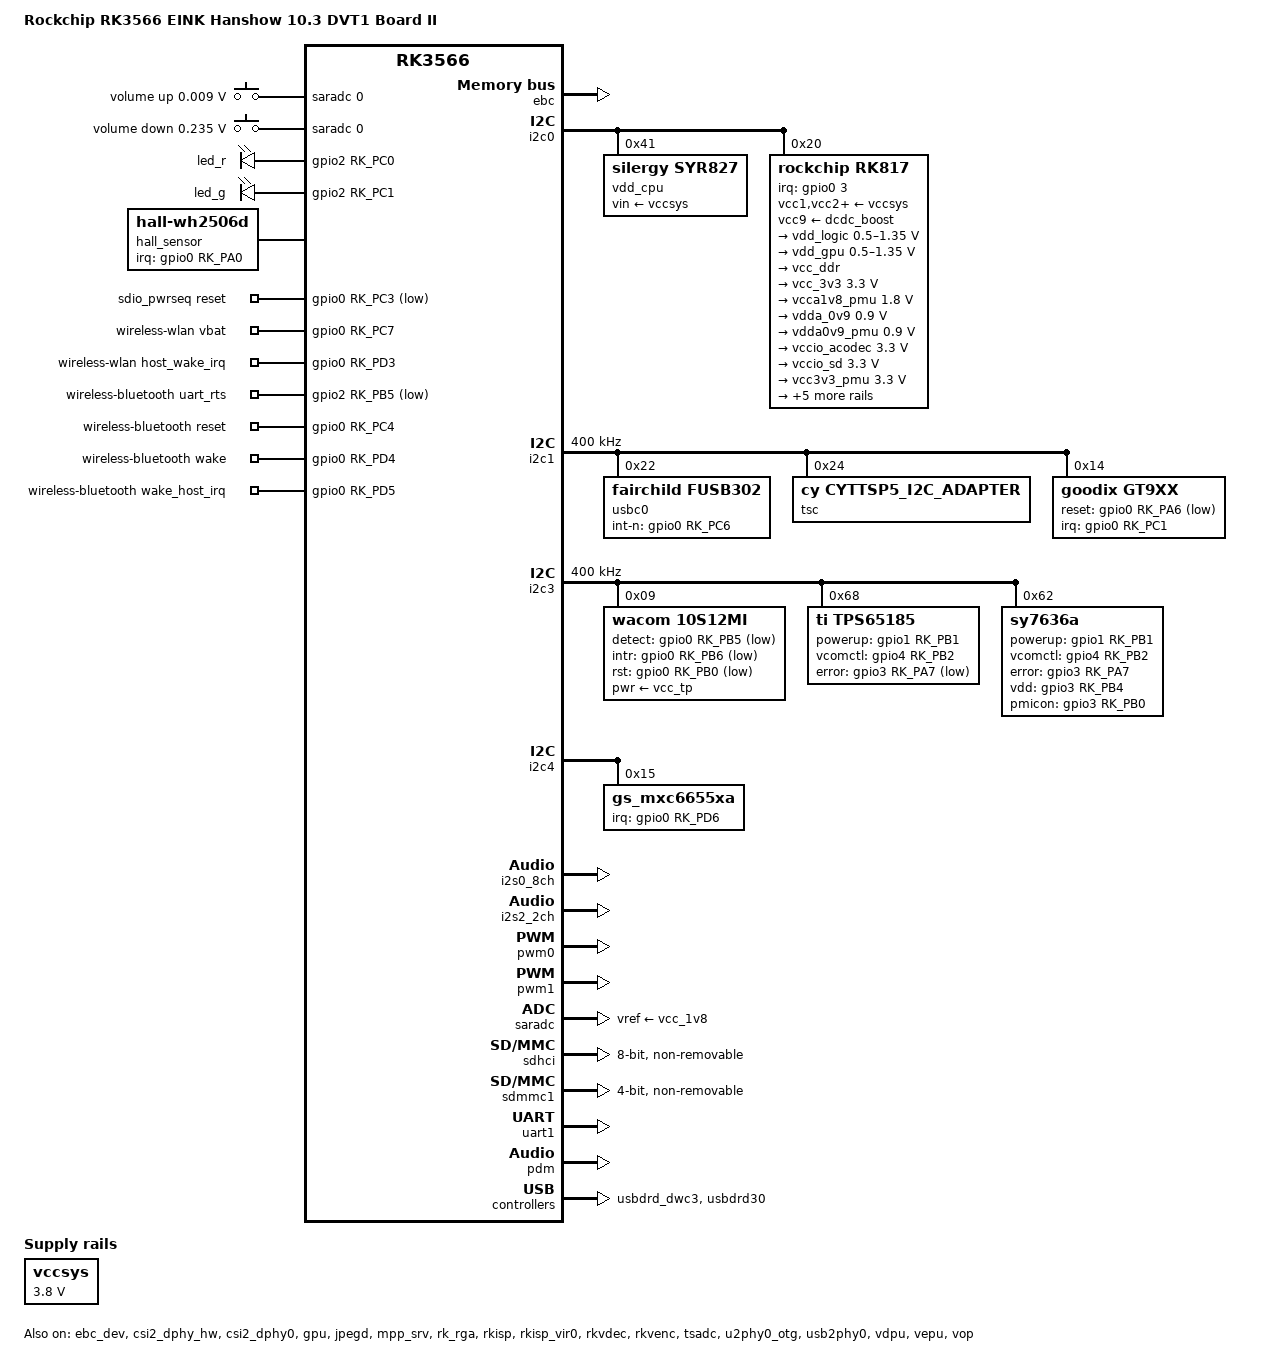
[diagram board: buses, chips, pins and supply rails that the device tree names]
// SPDX-License-Identifier: (GPL-2.0+ OR MIT)
/*
 * Copyright (c) 2020 Rockchip Electronics Co., Ltd.
 *
 */

/dts-v1/;

#include <dt-bindings/gpio/gpio.h>
#include <dt-bindings/pinctrl/rockchip.h>
#include <dt-bindings/input/rk-input.h>
#include <dt-bindings/sensor-dev.h>
#include <dt-bindings/display/drm_mipi_dsi.h>
#include <dt-bindings/usb/pd.h>
#include "rk3566.dtsi"
#include "rk3568-android.dtsi"
#include "rk3566-eink.dtsi"

#define TYPEC_fusb30x

/ {
    model = "Rockchip RK3566 EINK Hanshow 10.3 DVT1 Board II";
    compatible = "rockchip,rk3566-rk817-eink", "rockchip,rk3566";

    ramoops_mem: ramoops_mem {
        reg = <0x0 0x110000 0x0 0xf0000>;
        reg-names = "ramoops_mem";
    };

    ramoops {
        compatible = "ramoops";
        record-size = <0x0 0x20000>;
        console-size = <0x0 0x80000>;
        ftrace-size = <0x0 0x00000>;
        pmsg-size = <0x0 0x50000>;
        memory-region = <&ramoops_mem>;
    };

    charge_animation: charge-animation {
        status = "okay";
        compatible = "rockchip,uboot-charge";
        rockchip,uboot-charge-on = <1>;
        rockchip,android-charge-on = <0>;
        rockchip,uboot-low-power-voltage = <3350>;
        rockchip,screen-on-voltage = <3400>;
        rockchip,auto-wakeup-interval = <10>;
    };

    adc_keys: adc-keys {
        status = "okay";
        compatible = "adc-keys";
        io-channels = <&saradc 0>;
        io-channel-names = "buttons";
        keyup-threshold-microvolt = <1800000>;
        poll-interval = <100>;

        vol-up-key {
            label = "volume up";
            linux,code = <KEY_VOLUMEUP>;
            press-threshold-microvolt = <9000>;
        };

        vol-down-key {
            label = "volume down";
            linux,code = <KEY_VOLUMEDOWN>;
            press-threshold-microvolt = <235000>;
        };
    };

    gpio_keys: gpio-keys {
        status ="disabled";
        compatible = "gpio-keys";
        autorepeat;
#if 0
        BACK {
            label = "GPIO Key Back";
            debounce-interval = <10>;
            interrupt-parent = <&gpio0>;
            interrupts = <18 IRQ_TYPE_LEVEL_HIGH>;//gpio0_c2
            linux,input-type = <EV_KEY>;
            linux,code = <KEY_BACK>;
        };
#endif
    };

    leds: gpio-leds {
        status = "okay";
        compatible = "gpio-leds";
        led@1 {
            gpios = <&gpio2 RK_PC0 GPIO_ACTIVE_HIGH>;
            linux,default-trigger = "battery-charging";
            label = "led_r";
            retain-state-suspended;
        };

        led@2 {
            gpios = <&gpio2 RK_PC1 GPIO_ACTIVE_HIGH>;
            linux,default-trigger = "battery-charging-or-full";
            label = "led_g";
            default-state = "off";
        };
    };

    hall_sensor: hall-wh2506d {
        status = "okay";
        compatible = "hall-wh2506d";
        pinctrl-names = "default";
        pinctrl-0 = <&hall_irq_gpio>;
        irq-gpio = <&gpio0 RK_PA0 IRQ_TYPE_EDGE_BOTH>;
        hall-active = <1>;
    };

    vccsys: vccsys {
        compatible = "regulator-fixed";
        regulator-name = "vcc3v8_sys";
        regulator-always-on;
        regulator-boot-on;
        regulator-min-microvolt = <3800000>;
        regulator-max-microvolt = <3800000>;
    };

    rk817_sound: rk817-sound {
        status = "disabled";
        compatible = "simple-audio-card";
        simple-audio-card,format = "i2s";
        simple-audio-card,name = "rockchip,rk817-codec";
        simple-audio-card,mclk-fs = <256>;

        simple-audio-card,cpu {
            sound-dai = <&i2s0_8ch>;
        };
        simple-audio-card,codec {
            sound-dai = <&rk817_codec>;
        };
    };

    bt_sound: bt-sound {
        status = "okay";
        compatible = "simple-audio-card";
        simple-audio-card,format = "dsp_b";
        simple-audio-card,bitclock-inversion = <1>;
        simple-audio-card,mclk-fs = <256>;
        simple-audio-card,name = "rockchip,bt";
        simple-audio-card,cpu {
            sound-dai = <&i2s2_2ch>;
        };
        sound2_master:simple-audio-card,codec {
            sound-dai = <&bt_sco>;
        };
    };

    bt_sco: bt-sco {
        status = "okay";
        compatible = "delta,dfbmcs320";
        #sound-dai-cells = <0>;
    };

    pdm_mic_array: pdm-mic-array {
        status = "okay";
        compatible = "simple-audio-card";
        simple-audio-card,name = "rockchip,pdm-mic-array";
        simple-audio-card,cpu {
            sound-dai = <&pdm>;
        };
        simple-audio-card,codec {
            sound-dai = <&pdmics>;
        };
    };

    pdmics: dummy-codec {
        status = "okay";
        compatible = "rockchip,dummy-codec";
        #sound-dai-cells = <0>;
    };

    sdio_pwrseq: sdio-pwrseq {
        compatible = "mmc-pwrseq-simple";
        clocks = <&rk817 1>;
        clock-names = "ext_clock";
        pinctrl-names = "default";
        pinctrl-0 = <&wifi_enable_h>;

        /*
         * On the module itself this is one of these (depending
         * on the actual card populated):
         * - SDIO_RESET_L_WL_REG_ON
         * - PDN (power down when low)
         */
        post-power-on-delay-ms = <200>;
        reset-gpios = <&gpio0 RK_PC3 GPIO_ACTIVE_LOW>;
    };

    wireless-wlan {
        status = "okay";
        compatible = "wlan-platdata";
        rockchip,grf = <&grf>;
        wifi_chip_type = "";
        pinctrl-names = "default";
        pinctrl-0 = <&wifi_gpio>;
        WIFI,vbat_gpio = <&gpio0 RK_PC7 GPIO_ACTIVE_HIGH>;
        WIFI,host_wake_irq = <&gpio0 RK_PD3 GPIO_ACTIVE_HIGH>;
    };

    wireless-bluetooth {
        status = "okay";
        compatible = "bluetooth-platdata";
        clocks = <&rk817 1>;
        clock-names = "ext_clock";
        wifi-bt-power-toggle;
        uart_rts_gpios = <&gpio2 RK_PB5 GPIO_ACTIVE_LOW>;
        pinctrl-names = "default", "rts_gpio";
        pinctrl-0 = <&uart1m0_rtsn>, <&bt_reset_gpio>, <&bt_wake_gpio>, <&bt_irq_gpio>;
        pinctrl-1 = <&uart1_gpios>;
        BT,reset_gpio = <&gpio0 RK_PC4 GPIO_ACTIVE_HIGH>;
        BT,wake_gpio = <&gpio0 RK_PD4 GPIO_ACTIVE_HIGH>;
        BT,wake_host_irq = <&gpio0 RK_PD5 GPIO_ACTIVE_HIGH>;
    };
};

&ebc {
    /* clock rate 1000M/n, (n=1~32) */
    assigned-clocks = <&cru CPLL_333M>, <&cru DCLK_EBC>;
    assigned-clock-rates = <34000000>, <34000000>;
    status = "okay";
};

&ebc_dev {
    pmic = <&sy7636a>;
    //backlight = <&backlight>;
    /* ES103TC1 */
    panel,width = <1872>;
    panel,height = <1404>;
    panel,vir_width = <1872>;
    panel,vir_height = <1404>;
    panel,sdck = <35000000>;
    panel,lsl = <18>;
    panel,lbl = <17>;
    panel,ldl = <234>;

    // 15:CKV = 117.7K, EMR NOISE 达到最佳效果。20220712:确认15是最佳效果。

    panel,lel = <15>;  // 470ns
    panel,gdck-sta = <34>;
    panel,lgonl = <192>;
    panel,fsl = <1>;
    panel,fbl = <4>;
    panel,fdl = <1404>;
    panel,fel = <2>;
    panel,mirror = <1>;
    panel,panel_16bit = <1>;
    panel,panel_color = <0>;
    panel,width-mm = <210>;
    panel,height-mm = <157>;
    panel,dpi = <220>;
    panel,vcom-mv = <1300>;	//for OED 10.3 LANDSCAPE EPD.
    status = "okay";
};

// 20220523,hsl fix: 6*fb_size + 2*lcd_size + 512K 
// 10.3: 6*2628288 + 2*657088 + 512*1024= 17608192 = 0X10CAE00
&display_reserved {
    reg = <0x0 0x10900000 0x0 0x15d0000>;
};

&cpu0 {
    cpu-supply = <&vdd_cpu>;
};

&csi2_dphy_hw {
    status = "okay";
};

&csi2_dphy0 {
    status = "okay";

    ports {
        #address-cells = <1>;
        #size-cells = <0>;
        port@0 {
            reg = <0>;
            #address-cells = <1>;
            #size-cells = <0>;

            mipi_in_ucam0: endpoint@0 {
                reg = <0>;
                //remote-endpoint = <&gc5035_out>;
                data-lanes = <1 2>;
            };
        };
        port@1 {
            reg = <1>;
            #address-cells = <1>;
            #size-cells = <0>;

            csidphy0_out: endpoint@0 {
                reg = <0>;
                remote-endpoint = <&isp0_in>;
            };
        };
    };
};

&gpu {
    mali-supply = <&vdd_gpu>;
    status = "okay";
};

&hdmi {
    status = "disabled";
};

&hdmi_in_vp0 {
    status = "disabled";
};

&hdmi_in_vp1 {
    status = "disabled";
};

&i2c0 {
    status = "okay";
    vdd_cpu: syr827@41 {
        status = "okay";
        compatible = "silergy,syr827";
        reg = <0x41>;
        vin-supply = <&vccsys>;
        regulator-compatible = "fan53555-reg";
        regulator-name = "vdd_cpu";
        regulator-min-microvolt = <712500>;
        regulator-max-microvolt = <1390000>;
        regulator-init-microvolt = <900000>;
        regulator-ramp-delay = <2300>;
        fcs,suspend-voltage-selector = <0>;
        regulator-initial-mode = <0x2>;
        regulator-boot-on;
        regulator-always-on;
        regulator-state-mem {
            regulator-on-in-suspend;
            regulator-suspend-microvolt = <1100000>;
            regulator-changeable-in-suspend;
        };
    };
	#if 0
    vdd_cpu: tcs4525@1c {
        compatible = "tcs,tcs452x";
        reg = <0x1c>;
        vin-supply = <&vccsys>;
        regulator-compatible = "fan53555-reg";
        regulator-name = "vdd_cpu";
        regulator-min-microvolt = <712500>;
        regulator-max-microvolt = <1390000>;
        regulator-init-microvolt = <900000>;
        regulator-ramp-delay = <2300>;
        fcs,suspend-voltage-selector = <0>;
        regulator-initial-mode = <0x2>;
        regulator-boot-on;
        regulator-always-on;
        regulator-state-mem {
            regulator-on-in-suspend;
            regulator-suspend-microvolt = <1100000>;
            regulator-changeable-in-suspend;
        };
    };
#endif
    rk817: pmic@20 {
        compatible = "rockchip,rk817";
        reg = <0x20>;
        interrupt-parent = <&gpio0>;
        interrupts = <3 IRQ_TYPE_LEVEL_LOW>;

        pinctrl-names = "default";
        //pinctrl-names = "default", "pmic-sleep", "pmic-power-off", "pmic-reset";
        pinctrl-0 = <&pmic_int>;
        //pinctrl-1 = <&soc_slppin_slp>, <&rk817_slppin_slp>;
        //pinctrl-2 = <&soc_slppin_gpio>, <&rk817_slppin_pwrdn>;
        //pinctrl-3 = <&soc_slppin_gpio>, <&rk817_slppin_rst>;
        rockchip,system-power-controller;
        wakeup-source;
        #clock-cells = <1>;
        clock-output-names = "rk808-clkout1", "rk808-clkout2";
        //fb-inner-reg-idxs = <2>;
        /* 1: rst regs (default in codes), 0: rst the pmic */
        pmic-reset-func = <0>;
        /* not save the PMIC_POWER_EN register in uboot */
        not-save-power-en = <1>;
        vcc1-supply = <&vccsys>;
        vcc2-supply = <&vccsys>;
        vcc3-supply = <&vccsys>;
        vcc4-supply = <&vccsys>;
        vcc5-supply = <&vccsys>;
        vcc6-supply = <&vccsys>;
        vcc7-supply = <&vccsys>;
        vcc8-supply = <&vccsys>;
        vcc9-supply = <&dcdc_boost>;

        pwrkey {
            status = "okay";
        };

        pinctrl_rk8xx: pinctrl_rk8xx {
            gpio-controller;
            #gpio-cells = <2>;

            rk817_slppin_null: rk817_slppin_null {
                pins = "gpio_slp";
                function = "pin_fun0";
            };

            rk817_slppin_slp: rk817_slppin_slp {
                pins = "gpio_slp";
                function = "pin_fun1";
            };

            rk817_slppin_pwrdn: rk817_slppin_pwrdn {
                pins = "gpio_slp";
                function = "pin_fun2";
            };

            rk817_slppin_rst: rk817_slppin_rst {
                pins = "gpio_slp";
                function = "pin_fun3";
            };
        };

        regulators {
            vdd_logic: DCDC_REG1 {
                regulator-always-on;
                regulator-boot-on;
                regulator-min-microvolt = <500000>;
                regulator-max-microvolt = <1350000>;
                regulator-init-microvolt = <900000>;
                regulator-ramp-delay = <6001>;
                regulator-initial-mode = <0x2>;
                regulator-name = "vdd_logic";
                regulator-state-mem {
                    regulator-off-in-suspend;
                    regulator-suspend-microvolt = <900000>;
                    regulator-changeable-in-suspend;
                };
            };

            vdd_gpu: DCDC_REG2 {
                regulator-always-on;
                regulator-boot-on;
                regulator-min-microvolt = <500000>;
                regulator-max-microvolt = <1350000>;
                regulator-init-microvolt = <900000>;
                regulator-ramp-delay = <6001>;
                regulator-initial-mode = <0x2>;
                regulator-name = "vdd_gpu";
                    regulator-state-mem {
                    regulator-off-in-suspend;
                    regulator-changeable-in-suspend;
                };
            };

            vcc_ddr: DCDC_REG3 {
                regulator-always-on;
                regulator-boot-on;
                regulator-initial-mode = <0x2>;
                regulator-name = "vcc_ddr";
                regulator-state-mem {
                    regulator-on-in-suspend;
                };
            };

            vcc_3v3: DCDC_REG4 {
                regulator-always-on;
                regulator-boot-on;
                regulator-min-microvolt = <3300000>;
                regulator-max-microvolt = <3300000>;
                regulator-initial-mode = <0x2>;
                regulator-name = "vcc_3v3";
                regulator-state-mem {
                    regulator-off-in-suspend;
                    regulator-changeable-in-suspend;
                };
            };

            vcca1v8_pmu: LDO_REG1 {
                regulator-always-on;
                regulator-boot-on;
                regulator-min-microvolt = <1800000>;
                regulator-max-microvolt = <1800000>;
                regulator-name = "vcca1v8_pmu";
                regulator-state-mem {
                    regulator-off-in-suspend;
                    regulator-suspend-microvolt = <1800000>;
                    regulator-changeable-in-suspend;
                };
            };

            vdda_0v9: LDO_REG2 {
                regulator-always-on;
                regulator-boot-on;
                regulator-min-microvolt = <900000>;
                regulator-max-microvolt = <900000>;
                regulator-name = "vdda_0v9";
                regulator-state-mem {
                    regulator-off-in-suspend;
                    regulator-changeable-in-suspend;
                };
            };

            vdda0v9_pmu: LDO_REG3 {
                regulator-always-on;
                regulator-boot-on;
                regulator-min-microvolt = <900000>;
                regulator-max-microvolt = <900000>;
                regulator-name = "vdda0v9_pmu";
                regulator-state-mem {
                    regulator-off-in-suspend;
                    regulator-suspend-microvolt = <900000>;
                    regulator-changeable-in-suspend;
                };
            };

            vccio_acodec: LDO_REG4 {
                regulator-always-on;
                regulator-boot-on;
                regulator-min-microvolt = <3300000>;
                regulator-max-microvolt = <3300000>;
                regulator-name = "vccio_acodec";
                regulator-state-mem {
                    regulator-off-in-suspend;
                    regulator-changeable-in-suspend;
                };
            };

            vccio_sd: LDO_REG5 {
                regulator-always-on;
                regulator-boot-on;
                regulator-min-microvolt = <3300000>;
                regulator-max-microvolt = <3300000>;
                regulator-name = "vccio_sd";
                regulator-state-mem {
                    regulator-off-in-suspend;
                    regulator-changeable-in-suspend;
                };
            };

            vcc3v3_pmu: LDO_REG6 {
                regulator-always-on;
                regulator-boot-on;
                regulator-min-microvolt = <3300000>;
                regulator-max-microvolt = <3300000>;
                regulator-name = "vcc3v3_pmu";
                regulator-state-mem {
                    regulator-on-in-suspend;
                    regulator-suspend-microvolt = <3000000>;
                    regulator-changeable-in-suspend;
                };
            };

            vcc_1v8: LDO_REG7 {
                regulator-always-on;
                regulator-boot-on;
                regulator-min-microvolt = <1800000>;
                regulator-max-microvolt = <1800000>;
                regulator-name = "vcc_1v8";
                regulator-state-mem {
                    regulator-off-in-suspend;
                    regulator-changeable-in-suspend;
                };
            };

            vcc_tp: LDO_REG8 {
                regulator-always-on;
                regulator-boot-on;
                regulator-min-microvolt = <3000000>;//根据硬件需要改成输出 3.0V.
                regulator-max-microvolt = <3000000>;
                regulator-name = "vcc_tp";
                regulator-state-mem {
                    regulator-on-in-suspend;
                    regulator-changeable-in-suspend;
                    regulator-suspend-microvolt = <3000000>;
                };
            };

            sleep_sta_ctl: LDO_REG9 {
                regulator-name = "sleep_sta_ctl";
                regulator-state-mem {
                    regulator-off-in-suspend;
                    regulator-suspend-microvolt = <3300000>;
                    regulator-changeable-in-suspend;
                };
            };

            dcdc_boost: BOOST {
                regulator-always-on;
                regulator-boot-on;
                regulator-min-microvolt = <4700000>;
                regulator-max-microvolt = <5400000>;
                regulator-name = "boost";
                regulator-state-mem {
                    regulator-off-in-suspend;
                    regulator-changeable-in-suspend;
                };
            };

            otg_switch: OTG_SWITCH {
                regulator-name = "otg_switch";
                regulator-state-mem {
                    regulator-off-in-suspend;
                    regulator-changeable-in-suspend;
                };
            };
        };

        battery {
            compatible = "rk817,battery";
			ocv_table = <
                3350 3593 3620 3653 3675 3692 3705
                3721 3741 3765 3791 3821 3860 3907
                3958 4016 4072 4130 4192 4253 4337>;
            tempadc_table = <
                272 261 250 240 230 220 211 203 194
                187 179 172 165 159 152 147 141 135
                130 125 120 116 112 107 103 100 96
                92 89 86 83 80 77 74 71 69 67 64 62
                60 58 56 54 52 50 49 47 45 44 42 41
                40 38 37 36 35 34 33 32 31 30 29 28 27 26 25 >;
            tempnadc_table = <
                284 297 310 324 339 354 370 387 405
                424 444 465 487 510 534 560 587 616
                646 677 711 746 784 823 865 909 956
                1006 1058 1113 1172 1234 1300 1369
                1443 1521 1604 1692 1786 1885>;
            design_capacity = <3000>;
            design_qmax = <3300>;
            bat_res = <100>;
            sleep_enter_current = <150>;
            sleep_exit_current = <180>;
            sleep_filter_current = <100>;
            power_off_thresd = <3450>;
            zero_algorithm_vol = <3850>;
            max_soc_offset = <60>;
            monitor_sec = <5>;
            sample_res = <10>;
            virtual_power = <0>;
            low_power_sleep = <1>;
            max_chrg_voltage = <4400>; //for uboot
        };

        charger {
            compatible = "rk817,charger";
            min_input_voltage = <4500>;
            max_input_current = <2000>;
            max_chrg_current = <1500>;
            max_chrg_voltage = <4400>;
            chrg_term_mode = <1>;
            chrg_finish_cur = <200>;
            virtual_power = <0>;
            dc_det_adc = <0>;
            extcon = <&usbc0>;
            gate_function_disable = <1>;
        };

        rk817_codec: codec {
            #sound-dai-cells = <0>;
            compatible = "rockchip,rk817-codec";
            clocks = <&cru I2S1_MCLKOUT>;
            clock-names = "mclk";
            assigned-clocks = <&cru I2S1_MCLKOUT>, <&cru I2S1_MCLK_TX_IOE>;
            assigned-clock-rates = <12288000>;
            assigned-clock-parents = <&cru I2S1_MCLKOUT_TX>, <&cru I2S1_MCLKOUT_TX>;
            pinctrl-names = "default";
            pinctrl-0 = <&i2s1m0_mclk>;
            hp-volume = <20>;
            spk-volume = <3>;
            out-l2spk-r2hp;
            spk-ctl-gpios = <&gpio3 RK_PB1 GPIO_ACTIVE_HIGH>;
            status = "disabled";
        };
    };
};

&i2c1 {
    status = "okay";
    clock-frequency = <400000>;

#ifdef TYPEC_fusb30x
    usbc0: fusb30x@22 {
        status = "okay";
        compatible = "fairchild,fusb302";
        reg = <0x22>;
        pinctrl-names = "default";
        pinctrl-0 = <&fusb0_int>;
        //pinctrl-0 = <&fusb0_int>, <&fusb0_switch>;
        //power-supply = <&vccio_sd>;
        //vbus-5v-gpios = <&gpio1 4 GPIO_ACTIVE_LOW>;
        int-n-gpios = <&gpio0 RK_PC6 IRQ_TYPE_LEVEL_LOW>;
        //switch-gpios = <&gpio1 RK_PD4 GPIO_ACTIVE_HIGH>;
    };
#else
    usbc0: et7303@4e {
        status = "okay";
        compatible = "etek,et7303";
        reg = <0x4e>;
        interrupt-parent = <&gpio0>;
        interrupts = <22 IRQ_TYPE_LEVEL_LOW>;
        pinctrl-names = "default";
        pinctrl-0 = <&et7303_int>;

        usb_con: connector {
            data-role = "dual";
            power-role = "dual";
            try-power-role = "sink";
            sink-pdos = <PDO_FIXED(5000, 2000, PDO_FIXED_USB_COMM)>;
            source-pdos = <PDO_FIXED(5000, 2000, PDO_FIXED_USB_COMM)>;
            op-sink-microwatt = <10000000>;
        };
    };
#endif

    touchscreen: goodix-gtx8@5d {
         compatible = "goodix,gt9886";
         reg = <0x5d>;
         status = "disabled";
         pinctrl-names = "default";
         pinctrl-0 = <&tp_gpio>;
         goodix,reset-gpio = <&gpio0 RK_PA6 GPIO_ACTIVE_LOW>;
         goodix,irq-gpio = <&gpio0 RK_PC1 IRQ_TYPE_LEVEL_LOW>;
         goodix,irq-flags = <2>; /* 1:trigger rising, 2:trigger falling;*/
         goodix,panel-max-x = <1404>;
         goodix,panel-max-y = <1872>;
         goodix,panel-max-w = <255>;
         //goodix,swap-axis;
         goodix,x2x;
         tp-support-wakeup;
    };

    tsc@24 {
        status = "okay";
        compatible = "cy,cyttsp5_i2c_adapter";
        reg = <0x24>;
        cy,adapter_id = "cyttsp5_i2c_adapter";
        pinctrl-names = "default";
        pinctrl-0 = <&tsc_gpio>;
        //cytp-supply = <&vcc_tp>;
        cy,core {
            cy,name = "cyttsp5_core";
            cy,irq_gpio =  <&gpio0 RK_PC1 IRQ_TYPE_LEVEL_LOW>;
            cy,rst_gpio =  <&gpio0 RK_PA6 GPIO_ACTIVE_HIGH>;
            cy,hid_desc_register = <1>;
            /* CY_CORE_FLAG_RESTORE_PARAMETERS */
            cy,flags = <6>;
            /* CY_CORE_EWG_NONE */
            cy,easy_wakeup_gesture = <0>;
            cy,mt {
                cy,name = "cyttsp5_mt";
                cy,inp_dev_name = "cyttsp5_mt";
                cy,flags = <0x20>; //0x20: CY_MT_FLAG_INV_Y  CY_MT_FLAG_FLIP = 0x08 CY_MT_FLAG_INV_X = 0x10,
                cy,abs =
                    /* ABS_MT_POSITION_X, CY_ABS_MIN_X, CY_ABS_MAX_X, 0, 0 */
                    <0x35 0 1872 0 0
                    /* ABS_MT_POSITION_Y, CY_ABS_MIN_Y, CY_ABS_MAX_Y, 0, 0 */
                    0x36 0 1404 0 0
                    /* ABS_MT_PRESSURE, CY_ABS_MIN_P, CY_ABS_MAX_P, 0, 0 */
                    0x3a 0 255 0 0
                    /* CY_IGNORE_VALUE, CY_ABS_MIN_W, CY_ABS_MAX_W, 0, 0 */
                    0xffff 0 255 0 0
                    /* ABS_MT_TRACKING_ID, CY_ABS_MIN_T, CY_ABS_MAX_T, 0, 0 */
                    0x39 0 15 0 0
                    /* ABS_MT_TOUCH_MAJOR, 0, 255, 0, 0 */
                    0x30 0 255 0 0
                    /* ABS_MT_TOUCH_MINOR, 0, 255, 0, 0 */
                    0x31 0 255 0 0
                    /* ABS_MT_ORIENTATION, -127, 127, 0, 0 */
                    0x34 0xffffff81 127 0 0
                    /* ABS_MT_TOOL_TYPE, 0, MT_TOOL_MAX, 0, 0 */
                    0x37 0 1 0 0
                    /* ABS_DISTANCE, 0, 255, 0, 0 */
                    0x19 0 255 0 0>;

                    cy,vkeys_x = <1872>;
                    cy,vkeys_y = <1404>;
            };
        };
    };
    gt9xx@14 {
        compatible = "goodix,gt9xx";
        reg = <0x14>; 
        status = "okay";
        //interrupt-parent = <&msm_gpio>;
        //interrupts = <13 0x2800>;
        pinctrl-names = "default";
        pinctrl-0 = <&tsc_gpio>;
        reset-gpios = <&gpio0 RK_PA6 GPIO_ACTIVE_LOW>;
        irq-gpios  = <&gpio0 RK_PC1 IRQ_TYPE_LEVEL_LOW>;
        irq-flags = <2>;

        touchscreen-max-id = <11>;
        touchscreen-size-x = <1872>;
        touchscreen-size-y = <1404>;
        touchscreen-max-w = <512>;
        touchscreen-max-p = <512>;
       //touchscreen-key-map = <172>, <158>; /*KEY_HOMEPAGE=172, KEY_BACK=158，KEY_MENU=139*/

        goodix,slide-wakeup = <0>;
        goodix,type-a-report = <0>;
        goodix,driver-send-cfg = <1>;
        goodix,resume-in-workqueue = <0>;
        goodix,int-sync = <1>;
        goodix,swap-x2y = <1>;
        goodix,x2x = <1>;
        goodix,y2y = <1>;
        goodix,esd-protect = <1>;
        goodix,auto-update-cfg = <0>;
        goodix,power-off-sleep = <0>;
        goodix,pen-suppress-finger = <0>;
        goodix,cfg-group0 = [
            47 50 07 7C 05 0A 05 00 01 0F 28 05 5F 46 03 05 00 00 00 00 00 00 08 00 00 00 00 8E 2E AB 65 67 D9 0B 00 00 01 B9 02 1C 00 00 00 00 00 03 00 00 00 00 00 46 78 94 C0 02 07 00 00 04 91 49 00 89 52 00 84 5B 00 7F 66 00 7D 71 00 7D 00 00 00 00 00 00 00 00 00 00 00 00 00 00 00 00 00 00 00 00 00 00 00 00 00 00 00 00 00 00 00 00 00 00 00 00 00 01 04 05 06 07 08 09 0C 0D 0E 0F 10 11 14 15 16 17 18 19 1A FF FF FF FF FF FF FF FF FF 00 02 04 06 07 08 0A 0C 0D 0F 10 11 12 13 19 1B 1C 1E 1F 20 21 22 23 24 25 26 27 28 FF FF FF FF FF FF FF FF FF FF FF FF FF FF 7E 01
        ];
    };
};

&i2c3 {
    status = "okay";
    clock-frequency = <400000>;
    pinctrl-names = "default";
    pinctrl-0 = <&i2c3m1_xfer>;

    wacom: wacom@09 {
        status = "okay";
        compatible = "wacom,10S12MI";
        reg = <0x09>;
        hid-descr-addr = <0x0001>;
        pwr-supply = <&vcc_tp>;
        pinctrl-names = "default";
        pinctrl-0 = <&emr_gpio>;
        gpio_detect = <&gpio0 RK_PB5 GPIO_ACTIVE_LOW>;
        gpio_intr = <&gpio0 RK_PB6 GPIO_ACTIVE_LOW>;
        gpio_rst = <&gpio0 RK_PB0 GPIO_ACTIVE_LOW>;
        revert_x = <1>;
        revert_y = <1>;
        xy_exchange = <0>;
        wacom-support-wakeup;
    };

    tps65185: tps65185@68 {
        status = "okay";
        compatible = "ti,tps65185";
        reg = <0x68>;
        pinctrl-names = "default";
        pinctrl-0 = <&einkpmic_gpio>;
        powerup-gpios = <&gpio1 RK_PB1 GPIO_ACTIVE_HIGH>;
        vcomctl-gpios = <&gpio4 RK_PB2 GPIO_ACTIVE_HIGH>;
        error-gpios = <&gpio3 RK_PA7 GPIO_ACTIVE_LOW>;
    };

    sy7636a: sy7636a@62 {
        status = "okay";
        compatible = "sy7636a";
        reg = <0x62>;
        pinctrl-names = "default";
        pinctrl-0 = <&einkpmic_gpio>;
        powerup-gpios = <&gpio1 RK_PB1 GPIO_ACTIVE_HIGH>;// sy7636a driver failed if powerup pin is not config
        vcomctl-gpios = <&gpio4 RK_PB2 GPIO_ACTIVE_HIGH>;
        error-gpios = <&gpio3 RK_PA7 GPIO_ACTIVE_HIGH>;
        vdd-gpios = <&gpio3 RK_PB4 GPIO_ACTIVE_HIGH>;
        pmicon-gpios  = <&gpio3 RK_PB0 GPIO_ACTIVE_HIGH>;
    };
};

&i2c4 {
    status = "okay";
    pinctrl-names = "default";
    pinctrl-0 = <&i2c4m1_xfer>;

    gs_mxc6655xa: gsensor@15 {
        status = "okay";
        compatible = "gs_mxc6655xa";
        reg = <0x15>;
        pinctrl-names = "default";
        pinctrl-0 = <&mxc6655xa_irq_gpio>;
        irq-gpio = <&gpio0 RK_PD6 IRQ_TYPE_LEVEL_LOW>;
        irq_enable = <0>;
        wakeup-source;  //20220824,hsl add for gsensor wakeup.
        poll_delay_ms = <20>;
        type = <SENSOR_TYPE_ACCEL>;
        power-off-in-suspend = <1>;
        layout = <8>;
    };
};

&i2c5 {
    status = "disabled";
    pinctrl-names = "default";
    pinctrl-0 = <&i2c5m1_xfer>;
};

&i2s0_8ch {
    status = "okay";
};

&i2s1_8ch {
    status = "disabled";
    rockchip,clk-trcm = <1>;
    pinctrl-names = "default";
    pinctrl-0 = <&i2s1m0_sclktx &i2s1m0_lrcktx &i2s1m0_sdi0 &i2s1m0_sdo0>;
};

&i2s2_2ch {
   status = "okay";
};

&spi3 {
    status = "disabled";
};

&jpegd {
    status = "okay";
};

&jpegd_mmu {
    status = "okay";
};

&video_phy0 {
    status = "disabled";
};

&mpp_srv {
    status = "okay";
};

&nandc0 {
    status = "disabled";
};

&pinctrl {
    pmic {
        pmic_int: pmic_int {
            rockchip,pins =
                <0 RK_PA3 RK_FUNC_GPIO &pcfg_pull_up>;
        };

        soc_slppin_gpio: soc_slppin_gpio {
            rockchip,pins =
                <0 RK_PA2 RK_FUNC_GPIO &pcfg_output_low_pull_down>;
        };

        soc_slppin_slp: soc_slppin_slp {
            rockchip,pins =
                <0 RK_PA2 1 &pcfg_pull_up>;
        };

        soc_slppin_rst: soc_slppin_rst {
            rockchip,pins =
                <0 RK_PA2 2 &pcfg_pull_none>;
        };
    };

    eink_pmic {
        einkpmic_gpio: einkpmic-gpio {
            rockchip,pins =
                <3 RK_PA7 RK_FUNC_GPIO &pcfg_pull_none>,
                <3 RK_PB0 RK_FUNC_GPIO &pcfg_pull_none>,
                <1 RK_PB1 RK_FUNC_GPIO &pcfg_pull_down>,// dummy EBC_PWR_EN
                <3 RK_PB1 RK_FUNC_GPIO &pcfg_pull_down>,// SPK_CTL
                <3 RK_PB4 RK_FUNC_GPIO &pcfg_pull_none>,
                <4 RK_PB2 RK_FUNC_GPIO &pcfg_pull_none>;
        };
    };

    sdio-pwrseq {
        wifi_enable_h: wifi-enable-h {
            rockchip,pins = <0 RK_PC3 RK_FUNC_GPIO &pcfg_pull_none>;// WIFI_REG_ON_H
        };
    };

    wireless-wlan {
        wifi_gpio: wifi-gpio {
            rockchip,pins =
                <0 RK_PD3 RK_FUNC_GPIO &pcfg_pull_up>,// WIFI_WAKE_HOST_H
                <0 RK_PC7 RK_FUNC_GPIO &pcfg_pull_none>;// WIFI_PWR_EN
        };
    };

    wireless-bluetooth {
        uart1_gpios: uart1-gpios {
            rockchip,pins = <2 RK_PB5 RK_FUNC_GPIO &pcfg_pull_none>;
        };

        bt_reset_gpio: bt-reset-gpio {
            rockchip,pins = <0 RK_PC4 RK_FUNC_GPIO &pcfg_pull_none>;
        };

        bt_wake_gpio: bt-wake-gpio {
            rockchip,pins = <0 RK_PD4 RK_FUNC_GPIO &pcfg_pull_none>;
        };

        bt_irq_gpio: bt-irq-gpio {
            rockchip,pins = <0 RK_PD5 RK_FUNC_GPIO &pcfg_pull_up>;// BT_WAKE_HOST_H
        };
    };

    mxc6655xa {
        mxc6655xa_irq_gpio: mxc6655xa-irq-gpio {
            rockchip,pins = <0 RK_PD6 RK_FUNC_GPIO &pcfg_pull_none>;
        };
    };

    sensors {
        hall_irq_gpio: hall-irq-gpio {
            rockchip,pins = <0 RK_PA0 RK_FUNC_GPIO  &pcfg_pull_up>;
        };
    };

    typec {
        et7303_int: et7303-int {
            rockchip,pins = <0 RK_PC6 RK_FUNC_GPIO &pcfg_pull_none>;
        };
        fusb0_int: fusb0-int {
            rockchip,pins = <0 RK_PC6 RK_FUNC_GPIO &pcfg_pull_none>;
        };
    };

    wacom {
        emr_gpio: emr-gpio {
            rockchip,pins =
                <0 RK_PB5 RK_FUNC_GPIO &pcfg_pull_up>,// EMR_PEN_DETECT
                <0 RK_PB6 RK_FUNC_GPIO &pcfg_pull_up>,
                <0 RK_PB0 RK_FUNC_GPIO &pcfg_pull_up>;
        };
    };

    goodix {
        tp_gpio: tp-gpio {
            rockchip,pins =
                <0 RK_PB5 RK_FUNC_GPIO &pcfg_pull_up>,
                <0 RK_PC1 RK_FUNC_GPIO &pcfg_pull_up>;
        };
    };

   tsc {
        tsc_gpio: tsc-gpio {
            rockchip,pins =
                <0 RK_PA6 RK_FUNC_GPIO &pcfg_pull_up>,// TP_RST_L
                <0 RK_PC1 RK_FUNC_GPIO &pcfg_pull_up>;
        };
    };
};

&xin32k {
    pinctrl-names = "default";
    pinctrl-0 = <&clk32k_out1>;
};

&pmu_io_domains {
    status = "okay";
    pmuio1-supply = <&vcc3v3_pmu>;
    pmuio2-supply = <&vcc3v3_pmu>;
    vccio1-supply = <&vccio_acodec>;    // 3.3v
    vccio3-supply = <&vcc_3v3>;
    vccio4-supply = <&vcca1v8_pmu>;
    vccio5-supply = <&vcc_3v3>;
    vccio6-supply = <&vcc_3v3>;
    vccio7-supply = <&vcc_3v3>;
};

&pwm0 {
    status = "okay";
};

&pwm1 {
    status = "okay";
};

&rk_rga {
    status = "okay";
};

&rkisp {
    status = "okay";
};

&rkisp_mmu {
    status = "okay";
};

&rkisp_vir0 {
    status = "okay";

    port {
        #address-cells = <1>;
        #size-cells = <0>;

        isp0_in: endpoint@0 {
            reg = <0>;
            remote-endpoint = <&csidphy0_out>;
        };
    };
};

&rkvdec {
    status = "okay";
};

&rkvdec_mmu {
    status = "okay";
};

&rkvenc {
    status = "okay";
};

&rkvenc_mmu {
    status = "okay";
};

&rockchip_suspend {
    status = "okay";
    rockchip,sleep-mode-config = <
        (0
         | RKPM_SLP_ARMOFF_LOGOFF
         | RKPM_SLP_CENTER_OFF
         | RKPM_SLP_HW_PLLS_OFF
         | RKPM_SLP_PMUALIVE_32K
         | RKPM_SLP_PMIC_LP
         | RKPM_SLP_32K_PVTM
        )
    >;
    rockchip,regulator-off-in-mem-lite =
        <&vdd_cpu>, <&vdd_logic>, <&vdd_gpu>, <&vcc_3v3>, <&vdda_0v9>, <&vcc_1v8>,
        <&vccio_acodec>, <&dcdc_boost>, <&otg_switch>,
        <&sleep_sta_ctl>;
    rockchip,regulator-on-in-mem-lite =
        <&vcc_ddr>, <&vdda0v9_pmu>, <&vcca1v8_pmu>, <&vcc_tp>, <&vccio_sd>, <&vcc3v3_pmu>;

    rockchip,regulator-off-in-mem =
        <&vdd_cpu>, <&vdd_logic>, <&vdd_gpu>, <&vcc_tp>, <&vcc_3v3>, <&vdda_0v9>, <&vcc_1v8>,
        <&vccio_acodec>, <&vccio_sd>, <&dcdc_boost>, <&otg_switch>,
        <&sleep_sta_ctl>;
    rockchip,regulator-on-in-mem =
        <&vcc_ddr>, <&vdda0v9_pmu>, <&vcca1v8_pmu>, <&vcc3v3_pmu>;

    rockchip,regulator-off-in-mem-ultra =
        <&vdd_logic>, <&vdd_gpu>, <&vcc_ddr>, <&vcc_3v3>, <&vdda_0v9>, <&vcc_1v8>,
        <&vdda0v9_pmu>, <&vcca1v8_pmu>, <&vcc3v3_pmu>, <&vccio_acodec>, <&vccio_sd>,
        <&vcc_tp>, <&dcdc_boost>, <&otg_switch>;
    rockchip,regulator-on-in-mem-ultra = <&vdd_cpu>, <&sleep_sta_ctl>;
};

&saradc {
    status = "okay";
    vref-supply = <&vcc_1v8>;
};

&sdhci {
    bus-width = <8>;
    supports-emmc;
    non-removable;
    keep-power-in-suspend;
    max-frequency = <200000000>;
    status = "okay";
};

&sdmmc1 {
    max-frequency = <150000000>;
    supports-sdio;
    bus-width = <4>;
    disable-wp;
    cap-sd-highspeed;
    cap-sdio-irq;
    keep-power-in-suspend;
    mmc-pwrseq = <&sdio_pwrseq>;
    non-removable;
    pinctrl-names = "default";
    pinctrl-0 = <&sdmmc1_bus4 &sdmmc1_cmd &sdmmc1_clk>;
    sd-uhs-sdr104;
    rockchip,default-sample-phase = <90>;
    status = "okay";
};

&tsadc {
    status = "okay";
};

&uart1 {
    status = "okay";
    pinctrl-names = "default";
    pinctrl-0 = <&uart1m0_xfer &uart1m0_ctsn>;
};

&pdm {
    status = "okay";
    rockchip,path-map = <1 0 2 3>;
    #sound-dai-cells = <0>;
    pinctrl-names = "default";
    pinctrl-0 = <&pdmm0_clk1 &pdmm0_sdi0 &pdmm0_sdi1>;
};

&u2phy0_otg {
    status = "okay";
};

&usb2phy0 {
    status = "okay";
    extcon = <&usbc0>;
};

&usbdrd_dwc3 {
    status = "okay";
    //dr_mode = "peripheral"; 
    extcon = <&usbc0>;
};

&usbdrd30 {
    status = "okay";
};

&vdpu {
    status = "okay";
};

&vdpu_mmu {
    status = "okay";
};

&vepu {
    status = "okay";
};

&vepu_mmu {
    status = "okay";
};

&vop {
    status = "okay";
};

&vop_mmu {
    status = "okay";
};
